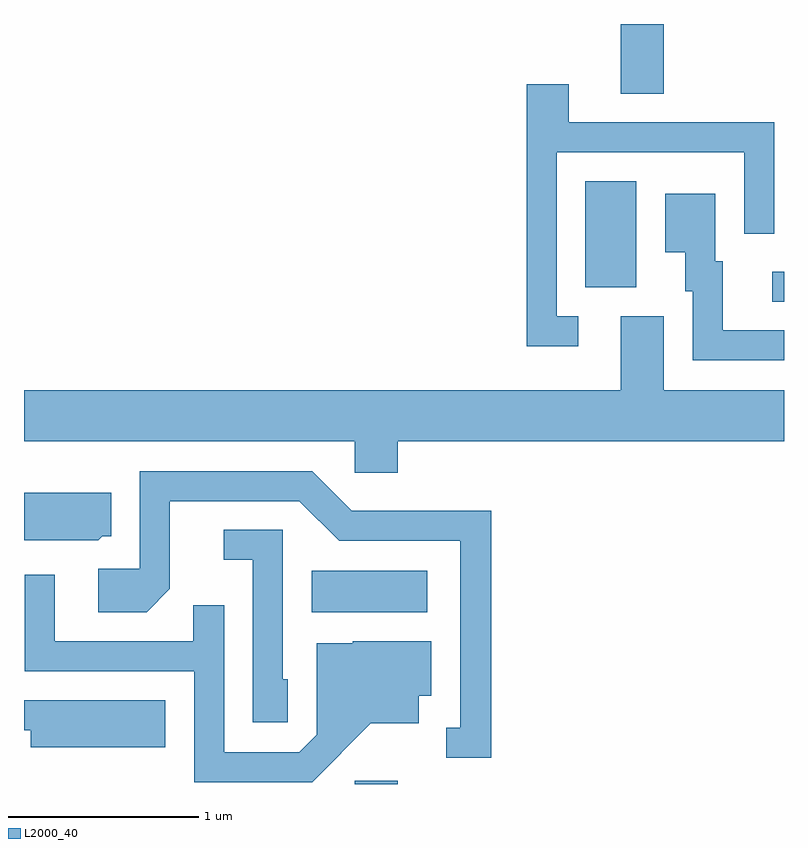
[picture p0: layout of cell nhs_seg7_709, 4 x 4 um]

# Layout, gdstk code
import gdstk
lib = gdstk.Library(unit=1e-6, precision=1e-09)
def R(c, l, rs):  # rectangles x0, y0, x1, y1
    for r in rs: c.add(gdstk.rectangle(r[:2], r[2:], *l))
def P(c, l, *ps):  # polygons
    for p in ps: c.add(gdstk.Polygon(p, *l))
L2000_40 = (2000, 40)

nhs_seg7_709 = lib.new_cell('nhs_seg7_709')
R(nhs_seg7_709, L2000_40, [(207.351,1750.252,207.579,1750.269), (207.126,1751.156,207.734,1751.374), (209.548,1752.791,209.611,1752.949), (208.566,1752.866,208.834,1753.424), (208.751,1753.886,208.979,1754.252)])
P(nhs_seg7_709, L2000_40, [(208.528,1752.714),(208.414,1752.714),(208.414,1753.576),(209.401,1753.576),(209.401,1753.148),(209.559,1753.148),(209.559,1753.734),(208.479,1753.734),(208.479,1753.934),(208.256,1753.934),(208.256,1752.556),(208.528,1752.556)],
  [(209.611,1752.639),(209.289,1752.639),(209.289,1753.004),(209.249,1753.004),(209.249,1753.359),(208.986,1753.359),(208.986,1753.051),(209.091,1753.051),(209.091,1752.846),(209.131,1752.846),(209.131,1752.481),(209.611,1752.481)],
  [(207.579,1752.056),(209.611,1752.056),(209.611,1752.324),(208.979,1752.324),(208.979,1752.714),(208.751,1752.714),(208.751,1752.324),(205.611,1752.324),(205.611,1752.056),(207.351,1752.056),(207.351,1751.891),(207.579,1751.891)],
  [(208.069,1751.689),(207.337,1751.689),(207.127,1751.899),(206.221,1751.899),(206.221,1751.384),(206.001,1751.384),(206.001,1751.156),(206.257,1751.156),(206.379,1751.279),(206.379,1751.741),(207.059,1751.741),(207.269,1751.531),(207.906,1751.531),(207.906,1750.549),(207.833,1750.549),(207.833,1750.391),(208.069,1750.391)],
  [(206.022,1751.556),(206.069,1751.556),(206.069,1751.784),(205.611,1751.784),(205.611,1751.536),(206.002,1751.536)],
  [(206.999,1750.804),(206.974,1750.804),(206.974,1751.589),(206.663,1751.589),(206.663,1751.431),(206.816,1751.431),(206.816,1750.576),(206.999,1750.576)],
  [(207.437,1750.571),(207.689,1750.571),(207.689,1750.716),(207.754,1750.716),(207.754,1751.004),(207.34,1751.004),(207.34,1750.994),(207.151,1750.994),(207.151,1750.512),(207.059,1750.419),(206.664,1750.419),(206.664,1751.193),(206.501,1751.193),(206.501,1751.004),(205.774,1751.004),(205.774,1751.353),(205.616,1751.353),(205.616,1750.846),(206.506,1750.846),(206.506,1750.261),(207.127,1750.261)],
  [(206.354,1750.694),(205.611,1750.694),(205.611,1750.536),(205.646,1750.536),(205.646,1750.446),(206.354,1750.446)])

lib.write_gds('nhs_seg7_709.gds')
